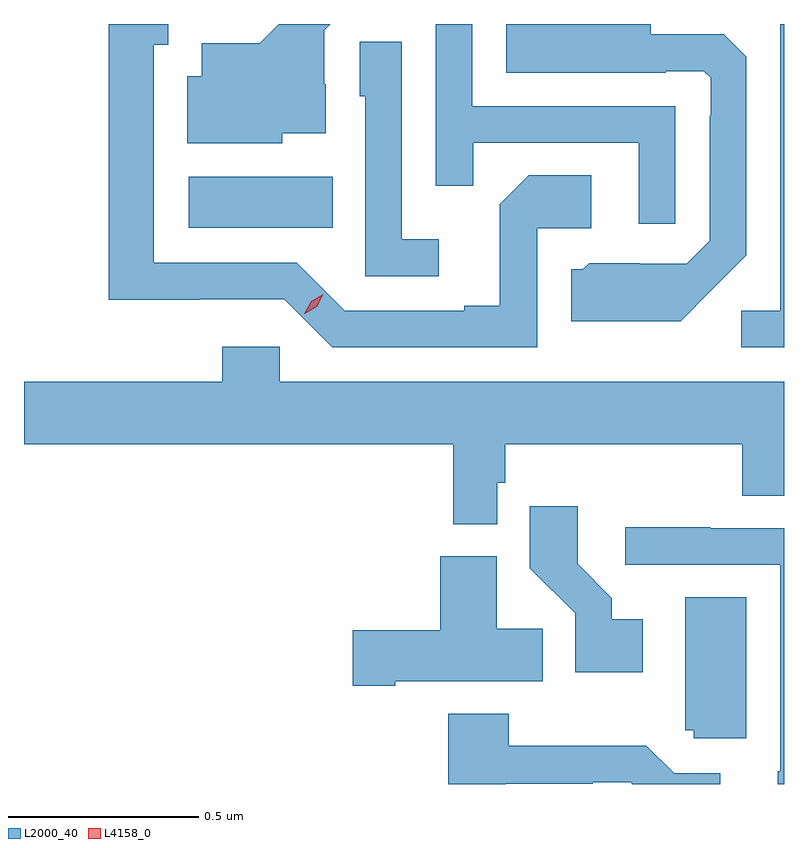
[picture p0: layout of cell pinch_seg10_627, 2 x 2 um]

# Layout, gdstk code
import gdstk
lib = gdstk.Library(unit=1e-6, precision=1e-09)
def R(c, l, rs):  # rectangles x0, y0, x1, y1
    for r in rs: c.add(gdstk.rectangle(r[:2], r[2:], *l))
def P(c, l, *ps):  # polygons
    for p in ps: c.add(gdstk.Polygon(p, *l))
L2000_40 = (2000, 40)
L4158_0 = (4158, 0)

pinch_seg10_627 = lib.new_cell('pinch_seg10_627')
R(pinch_seg10_627, L2000_40, [(365.592,1275.578,365.972,1275.712)])
P(pinch_seg10_627, L2000_40, [(367.159,1276.114),(367.149,1276.114),(367.149,1275.36),(367.047,1275.36),(367.047,1275.264),(367.159,1275.264)],
  [(366.967,1275.413),(367.059,1275.506),(367.059,1276.028),(367,1276.087),(366.808,1276.087),(366.808,1276.114),(366.428,1276.114),(366.428,1275.986),(366.848,1275.986),(366.848,1275.99),(366.948,1275.99),(366.966,1275.972),(366.966,1275.872),(366.963,1275.872),(366.963,1275.543),(366.903,1275.483),(366.78,1275.483),(366.78,1275.484),(366.646,1275.484),(366.63,1275.468),(366.599,1275.468),(366.599,1275.332),(366.887,1275.332)],
  [(366.51,1275.576),(366.652,1275.576),(366.652,1275.716),(366.487,1275.716),(366.411,1275.64),(366.411,1275.373),(366.317,1275.373),(366.317,1275.36),(366.003,1275.36),(365.877,1275.486),(365.5,1275.486),(365.5,1276.059),(365.539,1276.059),(365.539,1276.114),(365.382,1276.114),(365.382,1275.389),(365.622,1275.389),(365.622,1275.39),(365.844,1275.39),(365.97,1275.264),(366.51,1275.264)],
  [(366.873,1275.897),(366.339,1275.897),(366.339,1276.114),(366.243,1276.114),(366.243,1275.688),(366.341,1275.688),(366.341,1275.801),(366.777,1275.801),(366.777,1275.588),(366.873,1275.588)],
  [(365.838,1275.827),(365.953,1275.827),(365.953,1275.956),(365.949,1275.956),(365.949,1276.098),(365.965,1276.114),(365.83,1276.114),(365.779,1276.063),(365.627,1276.063),(365.627,1275.976),(365.588,1275.976),(365.588,1275.8),(365.838,1275.8)],
  [(366.25,1275.547),(366.153,1275.547),(366.153,1276.067),(366.042,1276.067),(366.042,1275.924),(366.057,1275.924),(366.057,1275.45),(366.25,1275.45)],
  [(366.405,1274.907),(366.425,1274.907),(366.425,1275.008),(367.049,1275.008),(367.049,1274.872),(367.159,1274.872),(367.159,1275.172),(365.832,1275.172),(365.832,1275.265),(365.681,1275.265),(365.681,1275.172),(365.159,1275.172),(365.159,1275.008),(366.289,1275.008),(366.289,1274.798),(366.405,1274.798)],
  [(366.787,1274.548),(366.706,1274.548),(366.706,1274.603),(366.616,1274.693),(366.616,1274.845),(366.49,1274.845),(366.49,1274.682),(366.609,1274.563),(366.609,1274.408),(366.787,1274.408)],
  [(367.159,1274.787),(366.965,1274.787),(366.965,1274.79),(366.741,1274.79),(366.741,1274.691),(367.149,1274.691),(367.149,1274.148),(367.142,1274.148),(367.142,1274.114),(367.159,1274.114)],
  [(366.136,1274.384),(366.524,1274.384),(366.524,1274.522),(366.403,1274.522),(366.403,1274.713),(366.254,1274.713),(366.254,1274.519),(366.024,1274.519),(366.024,1274.372),(366.136,1274.372)],
  [(367.06,1274.605),(366.899,1274.605),(366.899,1274.256),(366.921,1274.256),(366.921,1274.235),(367.06,1274.235)],
  [(366.427,1274.115),(366.656,1274.115),(366.656,1274.118),(366.756,1274.118),(366.76,1274.114),(366.991,1274.114),(366.991,1274.142),(366.87,1274.142),(366.797,1274.215),(366.435,1274.215),(366.435,1274.299),(366.275,1274.299),(366.275,1274.114),(366.427,1274.114)])
P(pinch_seg10_627, L4158_0, [(365.897,1275.351),(365.897,1275.351),(365.915,1275.384),(365.947,1275.403),(365.947,1275.403),(365.947,1275.403),(365.929,1275.37),(365.898,1275.351)])

lib.write_gds('pinch_seg10_627.gds')
